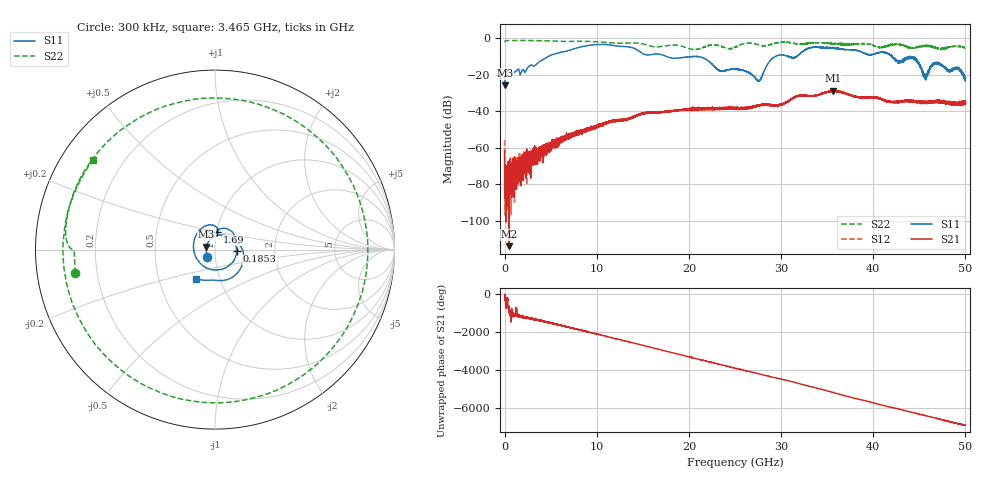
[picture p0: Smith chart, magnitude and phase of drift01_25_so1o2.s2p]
!Created with skrf (http://scikit-rf.org).
# Hz S RI R 50.0
!freq ReS11 ImS11 ReS21 ImS21 ReS12 ImS12 ReS22 ImS22
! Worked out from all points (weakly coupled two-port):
!   10001 points, 300 kHz to 50 GHz, reference 50 ohm
!   highest |S21| = -28.73 dB at 35.61 GHz (marker M1); lowest = -113.7 dB at 455.3 MHz (marker M2)
!   lowest |S11| = -25.8 dB at 5.3 MHz (marker M3), VSWR 1.11, Z = 45.3 + j1.42 ohm
!   |S11| at or under -10 dB: start of sweep to 4.766 GHz; 17.5 GHz to 29.41 GHz (11.91 GHz wide, 50.8 % of centre); 42.05 GHz to end of sweep (the widest 3 of 9)
!   |S22| runs from -6.5 to -1.4 dB; largest |S21 - S12| = 0.0042
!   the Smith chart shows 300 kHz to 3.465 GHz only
!   S11 on the Smith chart (normalised r, x): 300 kHz: 0.91, -0.08; 185.3 MHz: 1.27, -0.02; 1.69 GHz: 1.00, +0.20; 3.465 GHz: 0.77, -0.26
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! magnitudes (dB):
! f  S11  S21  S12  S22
! 300 kHz  -24.0  -61.5  -55.8  -2.0
! 5.3 MHz  -25.8  -73.8  -72.8  -2.1
! 185.3 MHz  -18.3  -75.0  -78.1  -1.4
! 455.3 MHz  -18.6  -113.7  -82.0  -1.4
! 1.69 GHz  -20.1  -69.0  -75.1  -1.4
! 3.465 GHz  -14.3  -62.3  -63.8  -1.5
! 8.335 GHz  -4.8  -50.4  -50.0  -1.8
! 16.67 GHz  -8.7  -40.4  -40.5  -4.8
! 21.15 GHz  -10.3  -38.7  -38.6  -5.8
! 25 GHz  -17.0  -38.4  -38.7  -5.1
! 27.59 GHz  -23.5  -36.9  -36.7  -3.8
! 29.28 GHz  -10.3  -37.1  -36.7  -2.9
! 31.45 GHz  -10.7  -32.5  -32.4  -3.0
! 33.34 GHz  -5.1  -31.7  -31.6  -2.7
! 35.61 GHz  -5.5  -28.7  -29.0  -2.9
! 41.67 GHz  -8.8  -34.6  -34.7  -4.2
! 42.74 GHz  -12.6  -35.1  -34.7  -3.4
! 44.46 GHz  -11.4  -34.3  -34.6  -5.4
! 45.63 GHz  -21.2  -35.1  -34.9  -4.2
! 46.88 GHz  -13.9  -35.2  -34.7  -5.4
! 49.25 GHz  -17.0  -35.5  -35.8  -4.6
! 50 GHz  -22.6  -35.3  -35.6  -5.4
